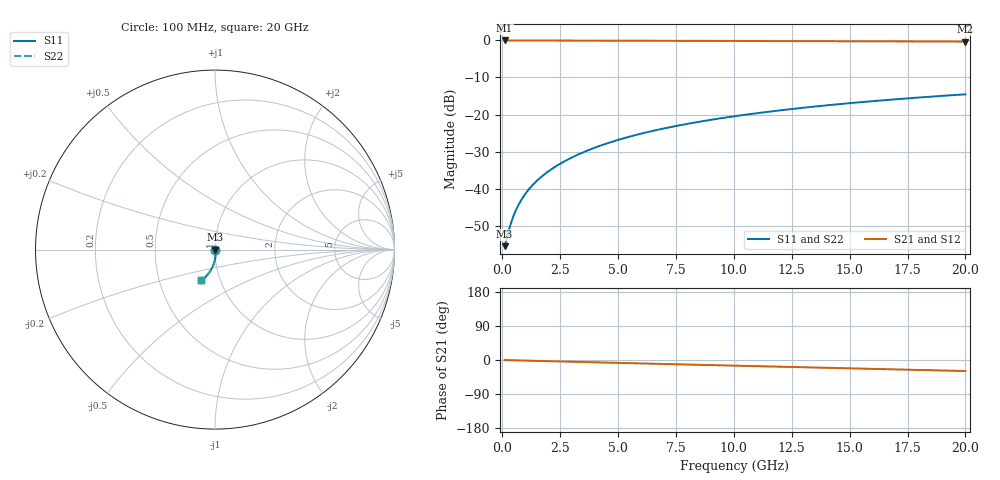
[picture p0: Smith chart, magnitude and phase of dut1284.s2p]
! Touchstone file exported from HFSS 2026.1.0
!  File:  C:/ffzhzh/LocalFiles/Ansys_Project_Files/temp_train_BSMRDL_1284_1783177911_55132.aedt
!  Generated:  11:12:54 PM Jul  4, 2026
!  Design:  BSMRDL
!  Project:  temp_train_BSMRDL_1284_1783177911_55132
! Variables:
!  h_bsmrdl = 5.38um
!  h_ox = 20um
!  h_rdl = 5um
!  h_sub = 80um
!  h_tmrdl = 5um
!  h_tsv = 80um
!  h_via = 3um
!  l_bsmrdl = 480.29um
!  l_sub = 880.29um
!  l_tmrdl = 200um
!  m_sub = 200um
!  pitch = 25.55um
!  r_tsv = 6um
!  s_tmrdl = 10um
!  w_bsmrdl = 23.41um
!  w_sub = 500um
!  w_tmrdl = 12um
!  x_tsv_center1 = 206um
!  x_tsv_center2 = 709.7um
!  x_tsv_center3 = 921.7um
!  x_tsv_center4 = 1425.4um
!  x_tsv_center5 = 1637.4um
!  x_tsv_center6 = 2141.1um
# GHz S MA R 50.000000
! Terminal data exported
! Port[1] = BSM_RDL1_1_T1
! Port[2] = BSM_RDL1_1_T2
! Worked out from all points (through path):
!   200 points, 100 MHz to 20 GHz, reference 50 ohm
!   highest |S21| = -0.01 dB at 100 MHz (marker M1); lowest = -0.3 dB at 20 GHz (marker M2)
!   group delay of S21, straight-line fit = 4.02 ps
!   lowest |S11| = -55.5 dB at 100 MHz (marker M3), VSWR 1.00, Z = 50.2 - j0.0309 ohm
!   |S11| at or under -10 dB: start of sweep to end of sweep
!   |S22| runs from -55.5 to -14.5 dB; largest |S21 - S12| = 2.7e-15
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0.1  0.001679 -10.6  0.9983 -0.2  0.9983 -0.2  0.001679 -10.6
! Gamma 0 0 0 0
! Port Impedance 50 0 50 0
0.3  0.00288 -34.9  0.9976 -0.5  0.9976 -0.5  0.00288 -34.9
0.4  0.003632 -44.0  0.9974 -0.7  0.9974 -0.7  0.003632 -44.0
0.5  0.00442 -51.0  0.9972 -0.8  0.9972 -0.8  0.00442 -51.0
0.6  0.005229 -56.3  0.997 -1.0  0.997 -1.0  0.005229 -56.3
0.7  0.00605 -60.4  0.9969 -1.1  0.9969 -1.1  0.00605 -60.4
0.9  0.007717 -66.2  0.9967 -1.4  0.9967 -1.4  0.007717 -66.2
1.2  0.01026 -71.7  0.9964 -1.9  0.9964 -1.9  0.01026 -71.7
1.4  0.01198 -74.1  0.9962 -2.2  0.9962 -2.2  0.01198 -74.1
1.7  0.01459 -76.7  0.9959 -2.7  0.9959 -2.7  0.01459 -76.7
2.2  0.01903 -79.6  0.9953 -3.4  0.9953 -3.4  0.01903 -79.7
2.8  0.0245 -82.0  0.9945 -4.3  0.9945 -4.3  0.0245 -82.0
3.5  0.03104 -84.1  0.9935 -5.4  0.9935 -5.4  0.03104 -84.1
4.2  0.03773 -85.9  0.9924 -6.4  0.9924 -6.4  0.03773 -85.9
5  0.04549 -87.8  0.9912 -7.6  0.9912 -7.6  0.04549 -87.8
5.9  0.05432 -89.7  0.9898 -8.9  0.9898 -8.9  0.05432 -89.7
6.8  0.06319 -91.6  0.9884 -10.3  0.9884 -10.3  0.06319 -91.6
8.3  0.07799 -94.5  0.9861 -12.4  0.9861 -12.4  0.07798 -94.5
10.1  0.09562 -97.8  0.9831 -15.0  0.9831 -15.0  0.09562 -97.8
13.4  0.1274 -103.4  0.9772 -19.8  0.9772 -19.8  0.1274 -103.4
16.7  0.1581 -108.6  0.9706 -24.5  0.9706 -24.5  0.1581 -108.7
20  0.1875 -113.7  0.9633 -29.1  0.9633 -29.1  0.1874 -113.7
